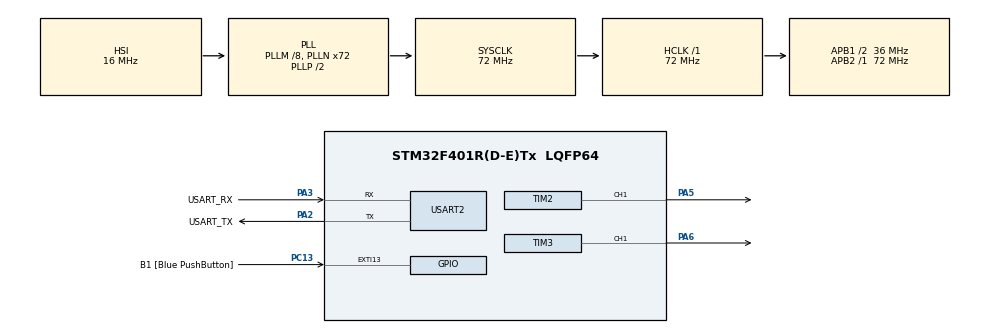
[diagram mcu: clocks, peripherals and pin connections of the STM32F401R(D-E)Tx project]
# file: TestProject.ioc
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Mcu.Family=STM32F4
Mcu.Name=STM32F401R(D-E)Tx
Mcu.Package=LQFP64
NVIC.EXTI15_10_IRQn=true\:0\:0\:false\:false\:true\:true\:true\:true
NVIC.PriorityGroup=NVIC_PRIORITYGROUP_0
NVIC.TIM1_UP_TIM10_IRQn=true\:0\:0\:false\:false\:true\:true\:true\:true
NVIC.USART2_IRQn=true\:0\:0\:false\:false\:true\:true\:true\:true
PA13.GPIO_Label=TMS
PA13.Mode=Serial_Wire
PA13.Signal=SYS_JTMS-SWDIO
PA14.GPIO_Label=TCK
PA14.Mode=Serial_Wire
PA14.Signal=SYS_JTCK-SWCLK
PA2.GPIO_Label=USART_TX
PA2.GPIO_Mode=GPIO_MODE_AF_PP
PA2.GPIO_PuPd=GPIO_NOPULL
PA2.GPIO_Speed=GPIO_SPEED_FREQ_LOW
PA2.Mode=Asynchronous
PA2.Signal=USART2_TX
PA3.GPIO_Label=USART_RX
PA3.GPIO_Mode=GPIO_MODE_AF_PP
PA3.GPIO_PuPd=GPIO_NOPULL
PA3.GPIO_Speed=GPIO_SPEED_FREQ_LOW
PA3.Mode=Asynchronous
PA3.Signal=USART2_RX
PA5.Signal=S_TIM2_CH1_ETR
PA6.Signal=S_TIM3_CH1
PC13-ANTI_TAMP.GPIO_Label=B1 [Blue PushButton]
PC13-ANTI_TAMP.GPIO_ModeDefaultEXTI=GPIO_MODE_IT_FALLING
PC13-ANTI_TAMP.GPIO_PuPd=GPIO_NOPULL
PC13-ANTI_TAMP.Signal=GPXTI13
PC14-OSC32_IN.Mode=LSE-External-Oscillator
PC14-OSC32_IN.Signal=RCC_OSC32_IN
PC15-OSC32_OUT.Mode=LSE-External-Oscillator
PC15-OSC32_OUT.Signal=RCC_OSC32_OUT
PH0\ -\ OSC_IN.Mode=HSE-External-Clock-Source
PH0\ -\ OSC_IN.Signal=RCC_OSC_IN
PH1\ -\ OSC_OUT.Mode=HSE-External-Clock-Source
PH1\ -\ OSC_OUT.Signal=RCC_OSC_OUT
ProjectManager.HeapSize=0x200
ProjectManager.StackSize=0x400
ProjectManager.TargetToolchain=STM32CubeIDE
RCC.48MHZClocksFreq_Value=20571428.57142857
RCC.AHBFreq_Value=72000000
RCC.APB1CLKDivider=RCC_HCLK_DIV2
RCC.APB1Freq_Value=36000000
RCC.APB1TimFreq_Value=72000000
RCC.APB2Freq_Value=72000000
RCC.APB2TimFreq_Value=72000000
RCC.CortexFreq_Value=72000000
RCC.HCLKFreq_Value=72000000
RCC.HSE_VALUE=8000000
RCC.HSI_VALUE=16000000
RCC.PLLM=8
RCC.PLLN=72
RCC.PLLQ=7
RCC.SYSCLKFreq_VALUE=72000000
RCC.SYSCLKSource=RCC_SYSCLKSOURCE_PLLCLK
RCC.VCOOutputFreq_Value=144000000
SH.S_TIM2_CH1_ETR.0=TIM2_CH1,PWM Generation1 CH1
SH.S_TIM3_CH1.0=TIM3_CH1,PWM Generation1 CH1
TIM1.Period=2
TIM1.Prescaler=35999
TIM2.Channel-PWM\ Generation1\ CH1=TIM_CHANNEL_1
TIM2.Period=999
TIM2.Prescaler=71
TIM2.Pulse-PWM\ Generation1\ CH1=499
TIM2.TIM_MasterOutputTrigger=TIM_TRGO_RESET
TIM3.Channel-PWM\ Generation1\ CH1=TIM_CHANNEL_1
TIM3.Period=3
TIM3.Prescaler=17
TIM3.Pulse-PWM\ Generation1\ CH1=2
TIM4.Prescaler=71
USART2.VirtualMode=VM_ASYNC
VP_TIM1_VS_ClockSourceINT.Mode=Internal
VP_TIM2_VS_ClockSourceINT.Mode=Internal
VP_TIM3_VS_ClockSourceINT.Mode=Internal
VP_TIM4_VS_ClockSourceINT.Mode=Internal
board=NUCLEO-F401RE

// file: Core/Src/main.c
/* USER CODE BEGIN Header */
/**
  ******************************************************************************
  * @file           : main.c
  * @brief          : Main program body
  ******************************************************************************
  * @attention
  *
  * Copyright (c) 2022 STMicroelectronics.
  * All rights reserved.
  *
  * This software is licensed under terms that can be found in the LICENSE file
  * in the root directory of this software component.
  * If no LICENSE file comes with this software, it is provided AS-IS.
  *
  ******************************************************************************
  */
/* USER CODE END Header */
#include "main.h"

TIM_HandleTypeDef htim1;
TIM_HandleTypeDef htim2;
TIM_HandleTypeDef htim3;
TIM_HandleTypeDef htim4;

UART_HandleTypeDef huart2;

void SystemClock_Config(void);
static void MX_GPIO_Init(void);
static void MX_USART2_UART_Init(void);
static void MX_TIM2_Init(void);
static void MX_TIM1_Init(void);
static void MX_TIM3_Init(void);
static void MX_TIM4_Init(void);
/* USER CODE BEGIN PFP */
volatile uint32_t i;
/* USER CODE END PFP */

/* USER CODE BEGIN 0 */
void delay_us (uint16_t us) //warning: this function is not reentrant
{
    __HAL_TIM_SET_COUNTER(&htim4,0); //reset the timer counter
	while (__HAL_TIM_GET_COUNTER(&htim4) < us);  // wait for the counter to reach the us value provided as an argument
}
void HAL_TIM_PeriodElapsedCallback(TIM_HandleTypeDef *htim) {

	if (htim->Instance == htim1.Instance){
		//change the duty cycle of TIM2 whenever the TIM1 interrupt occurs.
		static uint8_t dir = 0; //direction: are we currently increasing duty cycle or currently decreasing?
		i = __HAL_TIM_GET_COMPARE(&htim2, TIM_CHANNEL_1); //the period is 1000. Duty cycle should vary between 0 and 1000.

		if(dir == 0) { //change duty cycle by changing "i" by 1 in the positive or negative direction
			i--;
			if(i == 0) {
				dir = 1;
			}
		} else {
			i++;
			if(i == 1000) {
				dir = 0;
			}

		}
		//update the PWM control register
		__HAL_TIM_SET_COMPARE(&htim2, TIM_CHANNEL_1, i);
	}

}

//First we define our note frequencies and delays via a conversion function, an enum, and our look-up-table array.
#define FREQ_TO_DELAY_US(x) (500000 / x)
typedef enum {
	note_a 		= 0,
	note_a_sh 	= 1,
	note_b 		= 2,
	note_c 		= 3,
	note_c_sh 	= 4,
	note_d 		= 5,
	note_d_sh 	= 6,
	note_e 		= 7,
	note_f 		= 8,
	note_f_sh 	= 9,
	note_g		= 10,
	note_g_sh	= 11
} note_enum;

#define SCALE_LEN 12
uint16_t note_delays_us[] = {
	FREQ_TO_DELAY_US(220),
	FREQ_TO_DELAY_US(233),
	FREQ_TO_DELAY_US(247),
	FREQ_TO_DELAY_US(262),
	FREQ_TO_DELAY_US(277),
	FREQ_TO_DELAY_US(294),
	FREQ_TO_DELAY_US(311),
	FREQ_TO_DELAY_US(330),
	FREQ_TO_DELAY_US(349),
	FREQ_TO_DELAY_US(370),
	FREQ_TO_DELAY_US(392),
	FREQ_TO_DELAY_US(415),
	FREQ_TO_DELAY_US(440),
	FREQ_TO_DELAY_US(466),
	FREQ_TO_DELAY_US(494),
	FREQ_TO_DELAY_US(523),
	FREQ_TO_DELAY_US(554),
	FREQ_TO_DELAY_US(587),
	FREQ_TO_DELAY_US(622),
	FREQ_TO_DELAY_US(659),
	FREQ_TO_DELAY_US(698),
	FREQ_TO_DELAY_US(740),
	FREQ_TO_DELAY_US(784),
	FREQ_TO_DELAY_US(831)
};

//Now we define note durations {Quarter, Eighth, Sixteenth, Thirtysecond; Half; Whole}
#define NOTE_LEN_Q 652
#define NOTE_LEN_E (NOTE_LEN_Q/2)
#define NOTE_LEN_S (NOTE_LEN_Q/4)
#define NOTE_LEN_T (NOTE_LEN_Q/8)
#define NOTE_LEN_H (NOTE_LEN_Q*2)
#define NOTE_LEN_W (NOTE_LEN_Q*4)

//playNote struct provides the container to hold a given note in a song together
typedef struct {
	note_enum note;         //the note that is played
	uint8_t scale_pos;      //is it our upper scale or our lower scale (either 0 or 1)
	uint16_t duration_ms;   //for how long will the note be played?
	uint16_t duration_rest; //after the note, how long should we rest for?
} playNote;

//A song made up as the struct
playNote furEliseSong[] = {
	{note_e, 1, NOTE_LEN_E, 0},
	{note_d_sh, 1, NOTE_LEN_E, 0},
	{note_e, 1, NOTE_LEN_E, 0},
	{note_d_sh, 1, NOTE_LEN_E, 0},
	{note_e, 1, NOTE_LEN_E, 0},
	{note_b, 1, NOTE_LEN_E, 0},
	{note_d, 1, NOTE_LEN_E, 0},
	{note_c, 1, NOTE_LEN_E, 0},
	{note_a, 1, NOTE_LEN_Q, NOTE_LEN_E},

	{note_c, 0, NOTE_LEN_E, 0},
	{note_e, 0, NOTE_LEN_E, 0},
	{note_a, 1, NOTE_LEN_E, 0},
	{note_b, 1, NOTE_LEN_Q, NOTE_LEN_E},

	{note_e, 0, NOTE_LEN_E, 0},
	{note_g_sh, 0, NOTE_LEN_E, 0},
	{note_b, 1, NOTE_LEN_E, 0},
	{note_c, 1, NOTE_LEN_Q, NOTE_LEN_E},

	{note_e, 0, NOTE_LEN_E, 0},
	{note_e, 1, NOTE_LEN_E, 0},
	{note_d_sh, 1, NOTE_LEN_E, 0},
	{note_e, 1, NOTE_LEN_E, 0},
	{note_d_sh, 1, NOTE_LEN_E, 0},
	{note_e, 1, NOTE_LEN_E, 0},
	{note_b, 1, NOTE_LEN_E, 0},
	{note_d, 1, NOTE_LEN_E, 0},
	{note_c, 1, NOTE_LEN_E, 0},
	{note_a, 1, NOTE_LEN_Q, NOTE_LEN_E},

	{note_c, 0, NOTE_LEN_E, 0},
	{note_e, 0, NOTE_LEN_E, 0},
	{note_a, 1, NOTE_LEN_E, 0},
	{note_b, 1, NOTE_LEN_Q, NOTE_LEN_E},

	{note_e, 0, NOTE_LEN_E, 0},
	{note_c, 1, NOTE_LEN_E, 0},
	{note_b, 1, NOTE_LEN_E, 0},
	{note_a, 1, NOTE_LEN_Q, NOTE_LEN_Q}
};

//definitions finished, onto the functions to play the notes

//tx_tone takes a delay time and a play time, and will switch on and off the carrier PWM signal according to those arguments.
//this generates a tone in the PWM carrier in the AM frequency band.
void tx_tone(uint32_t dTime, uint32_t playTime) {
	uint32_t end = HAL_GetTick() + playTime;

  	while (end > HAL_GetTick()) {
	  	delay_us(dTime);
	  	HAL_TIM_PWM_Start(&htim3, TIM_CHANNEL_1);
	  	delay_us(dTime);
	  	HAL_TIM_PWM_Stop(&htim3, TIM_CHANNEL_1);
  	}
}

//tx_note takes a playNote structure and does the conversion into the arguments that tx_tone will take.
//firstly it transmits the note frequency (using the note_delay_us look up table) for 50 milliseconds less than requested,
//then it transmits "silence" for 50 milliseconds (this gives a gap between notes).
//Finally, if the playNote structure requests a further rest, it will extend the rest by that much amount of time.
void tx_note(playNote *n) {
	tx_tone(note_delays_us[n->note + SCALE_LEN * n->scale_pos], n->duration_ms-50);
	tx_tone(1, 50);
	if(n->duration_rest > 0) {
		tx_tone(1, n->duration_rest);
	}
}
/* USER CODE END 0 */

int main(void)
{

  /* MCU Configuration--------------------------------------------------------*/

  /* Reset of all peripherals, Initializes the Flash interface and the Systick. */
  HAL_Init();

  /* Configure the system clock */
  SystemClock_Config();

  /* Initialize all configured peripherals */
  MX_GPIO_Init();
  MX_USART2_UART_Init();
  MX_TIM2_Init();
  MX_TIM1_Init();
  MX_TIM3_Init();
  MX_TIM4_Init();
  /* USER CODE BEGIN 2 */
  HAL_TIM_Base_Start_IT(&htim1);
  HAL_TIM_PWM_Start(&htim2,TIM_CHANNEL_1); //enable PWM output on LED pin

  HAL_TIM_Base_Start(&htim4); // For delay function
  /* USER CODE END 2 */

  /* Infinite loop */
  while (1)
  {

    /* USER CODE BEGIN 3 */
	  for(int i = 0; i < 35; i++) { //35 notes to send
	  		  tx_note(&furEliseSong[i]);
	  	  }
  }
  /* USER CODE END 3 */
}

void SystemClock_Config(void)
{
  RCC_OscInitTypeDef RCC_OscInitStruct = {0};
  RCC_ClkInitTypeDef RCC_ClkInitStruct = {0};

  /** Configure the main internal regulator output voltage
  */
  __HAL_RCC_PWR_CLK_ENABLE();
  __HAL_PWR_VOLTAGESCALING_CONFIG(PWR_REGULATOR_VOLTAGE_SCALE2);

  /** Initializes the RCC Oscillators according to the specified parameters
  * in the RCC_OscInitTypeDef structure.
  */
  RCC_OscInitStruct.OscillatorType = RCC_OSCILLATORTYPE_HSI;
  RCC_OscInitStruct.HSIState = RCC_HSI_ON;
  RCC_OscInitStruct.HSICalibrationValue = RCC_HSICALIBRATION_DEFAULT;
  RCC_OscInitStruct.PLL.PLLState = RCC_PLL_ON;
  RCC_OscInitStruct.PLL.PLLSource = RCC_PLLSOURCE_HSI;
  RCC_OscInitStruct.PLL.PLLM = 8;
  RCC_OscInitStruct.PLL.PLLN = 72;
  RCC_OscInitStruct.PLL.PLLP = RCC_PLLP_DIV2;
  RCC_OscInitStruct.PLL.PLLQ = 7;
  if (HAL_RCC_OscConfig(&RCC_OscInitStruct) != HAL_OK)
  {
    Error_Handler();
  }

  /** Initializes the CPU, AHB and APB buses clocks
  */
  RCC_ClkInitStruct.ClockType = RCC_CLOCKTYPE_HCLK|RCC_CLOCKTYPE_SYSCLK
                              |RCC_CLOCKTYPE_PCLK1|RCC_CLOCKTYPE_PCLK2;
  RCC_ClkInitStruct.SYSCLKSource = RCC_SYSCLKSOURCE_PLLCLK;
  RCC_ClkInitStruct.AHBCLKDivider = RCC_SYSCLK_DIV1;
  RCC_ClkInitStruct.APB1CLKDivider = RCC_HCLK_DIV2;
  RCC_ClkInitStruct.APB2CLKDivider = RCC_HCLK_DIV1;

  if (HAL_RCC_ClockConfig(&RCC_ClkInitStruct, FLASH_LATENCY_2) != HAL_OK)
  {
    Error_Handler();
  }
}

static void MX_TIM1_Init(void)
{

  TIM_ClockConfigTypeDef sClockSourceConfig = {0};
  TIM_MasterConfigTypeDef sMasterConfig = {0};

  htim1.Instance = TIM1;
  htim1.Init.Prescaler = 35999;
  htim1.Init.CounterMode = TIM_COUNTERMODE_UP;
  htim1.Init.Period = 2;
  htim1.Init.ClockDivision = TIM_CLOCKDIVISION_DIV1;
  htim1.Init.RepetitionCounter = 0;
  htim1.Init.AutoReloadPreload = TIM_AUTORELOAD_PRELOAD_DISABLE;
  if (HAL_TIM_Base_Init(&htim1) != HAL_OK)
  {
    Error_Handler();
  }
  sClockSourceConfig.ClockSource = TIM_CLOCKSOURCE_INTERNAL;
  if (HAL_TIM_ConfigClockSource(&htim1, &sClockSourceConfig) != HAL_OK)
  {
    Error_Handler();
  }
  sMasterConfig.MasterOutputTrigger = TIM_TRGO_RESET;
  sMasterConfig.MasterSlaveMode = TIM_MASTERSLAVEMODE_DISABLE;
  if (HAL_TIMEx_MasterConfigSynchronization(&htim1, &sMasterConfig) != HAL_OK)
  {
    Error_Handler();
  }

}

static void MX_TIM2_Init(void)
{

  TIM_ClockConfigTypeDef sClockSourceConfig = {0};
  TIM_MasterConfigTypeDef sMasterConfig = {0};
  TIM_OC_InitTypeDef sConfigOC = {0};

  htim2.Instance = TIM2;
  htim2.Init.Prescaler = 71;
  htim2.Init.CounterMode = TIM_COUNTERMODE_UP;
  htim2.Init.Period = 999;
  htim2.Init.ClockDivision = TIM_CLOCKDIVISION_DIV1;
  htim2.Init.AutoReloadPreload = TIM_AUTORELOAD_PRELOAD_DISABLE;
  if (HAL_TIM_Base_Init(&htim2) != HAL_OK)
  {
    Error_Handler();
  }
  sClockSourceConfig.ClockSource = TIM_CLOCKSOURCE_INTERNAL;
  if (HAL_TIM_ConfigClockSource(&htim2, &sClockSourceConfig) != HAL_OK)
  {
    Error_Handler();
  }
  if (HAL_TIM_PWM_Init(&htim2) != HAL_OK)
  {
    Error_Handler();
  }
  sMasterConfig.MasterOutputTrigger = TIM_TRGO_RESET;
  sMasterConfig.MasterSlaveMode = TIM_MASTERSLAVEMODE_DISABLE;
  if (HAL_TIMEx_MasterConfigSynchronization(&htim2, &sMasterConfig) != HAL_OK)
  {
    Error_Handler();
  }
  sConfigOC.OCMode = TIM_OCMODE_PWM1;
  sConfigOC.Pulse = 499;
  sConfigOC.OCPolarity = TIM_OCPOLARITY_HIGH;
  sConfigOC.OCFastMode = TIM_OCFAST_DISABLE;
  if (HAL_TIM_PWM_ConfigChannel(&htim2, &sConfigOC, TIM_CHANNEL_1) != HAL_OK)
  {
    Error_Handler();
  }
  HAL_TIM_MspPostInit(&htim2);

}

static void MX_TIM3_Init(void)
{

  TIM_ClockConfigTypeDef sClockSourceConfig = {0};
  TIM_MasterConfigTypeDef sMasterConfig = {0};
  TIM_OC_InitTypeDef sConfigOC = {0};

  htim3.Instance = TIM3;
  htim3.Init.Prescaler = 17;
  htim3.Init.CounterMode = TIM_COUNTERMODE_UP;
  htim3.Init.Period = 3;
  htim3.Init.ClockDivision = TIM_CLOCKDIVISION_DIV1;
  htim3.Init.AutoReloadPreload = TIM_AUTORELOAD_PRELOAD_DISABLE;
  if (HAL_TIM_Base_Init(&htim3) != HAL_OK)
  {
    Error_Handler();
  }
  sClockSourceConfig.ClockSource = TIM_CLOCKSOURCE_INTERNAL;
  if (HAL_TIM_ConfigClockSource(&htim3, &sClockSourceConfig) != HAL_OK)
  {
    Error_Handler();
  }
  if (HAL_TIM_PWM_Init(&htim3) != HAL_OK)
  {
    Error_Handler();
  }
  sMasterConfig.MasterOutputTrigger = TIM_TRGO_RESET;
  sMasterConfig.MasterSlaveMode = TIM_MASTERSLAVEMODE_DISABLE;
  if (HAL_TIMEx_MasterConfigSynchronization(&htim3, &sMasterConfig) != HAL_OK)
  {
    Error_Handler();
  }
  sConfigOC.OCMode = TIM_OCMODE_PWM1;
  sConfigOC.Pulse = 2;
  sConfigOC.OCPolarity = TIM_OCPOLARITY_HIGH;
  sConfigOC.OCFastMode = TIM_OCFAST_DISABLE;
  if (HAL_TIM_PWM_ConfigChannel(&htim3, &sConfigOC, TIM_CHANNEL_1) != HAL_OK)
  {
    Error_Handler();
  }
  HAL_TIM_MspPostInit(&htim3);

}

static void MX_TIM4_Init(void)
{

  TIM_ClockConfigTypeDef sClockSourceConfig = {0};
  TIM_MasterConfigTypeDef sMasterConfig = {0};

  htim4.Instance = TIM4;
  htim4.Init.Prescaler = 71;
  htim4.Init.CounterMode = TIM_COUNTERMODE_UP;
  htim4.Init.Period = 65535;
  htim4.Init.ClockDivision = TIM_CLOCKDIVISION_DIV1;
  htim4.Init.AutoReloadPreload = TIM_AUTORELOAD_PRELOAD_DISABLE;
  if (HAL_TIM_Base_Init(&htim4) != HAL_OK)
  {
    Error_Handler();
  }
  sClockSourceConfig.ClockSource = TIM_CLOCKSOURCE_INTERNAL;
  if (HAL_TIM_ConfigClockSource(&htim4, &sClockSourceConfig) != HAL_OK)
  {
    Error_Handler();
  }
  sMasterConfig.MasterOutputTrigger = TIM_TRGO_RESET;
  sMasterConfig.MasterSlaveMode = TIM_MASTERSLAVEMODE_DISABLE;
  if (HAL_TIMEx_MasterConfigSynchronization(&htim4, &sMasterConfig) != HAL_OK)
  {
    Error_Handler();
  }

}

static void MX_USART2_UART_Init(void)
{

  huart2.Instance = USART2;
  huart2.Init.BaudRate = 115200;
  huart2.Init.WordLength = UART_WORDLENGTH_8B;
  huart2.Init.StopBits = UART_STOPBITS_1;
  huart2.Init.Parity = UART_PARITY_NONE;
  huart2.Init.Mode = UART_MODE_TX_RX;
  huart2.Init.HwFlowCtl = UART_HWCONTROL_NONE;
  huart2.Init.OverSampling = UART_OVERSAMPLING_16;
  if (HAL_UART_Init(&huart2) != HAL_OK)
  {
    Error_Handler();
  }

}

static void MX_GPIO_Init(void)
{
  GPIO_InitTypeDef GPIO_InitStruct = {0};

  /* GPIO Ports Clock Enable */
  __HAL_RCC_GPIOC_CLK_ENABLE();
  __HAL_RCC_GPIOH_CLK_ENABLE();
  __HAL_RCC_GPIOA_CLK_ENABLE();

  /*Configure GPIO pin : B1_Pin */
  GPIO_InitStruct.Pin = B1_Pin;
  GPIO_InitStruct.Mode = GPIO_MODE_IT_FALLING;
  GPIO_InitStruct.Pull = GPIO_NOPULL;
  HAL_GPIO_Init(B1_GPIO_Port, &GPIO_InitStruct);

  /* EXTI interrupt init*/
  HAL_NVIC_SetPriority(EXTI15_10_IRQn, 0, 0);
  HAL_NVIC_EnableIRQ(EXTI15_10_IRQn);

}

void Error_Handler(void)
{
  __disable_irq();
  while (1)
  {
  }
}
